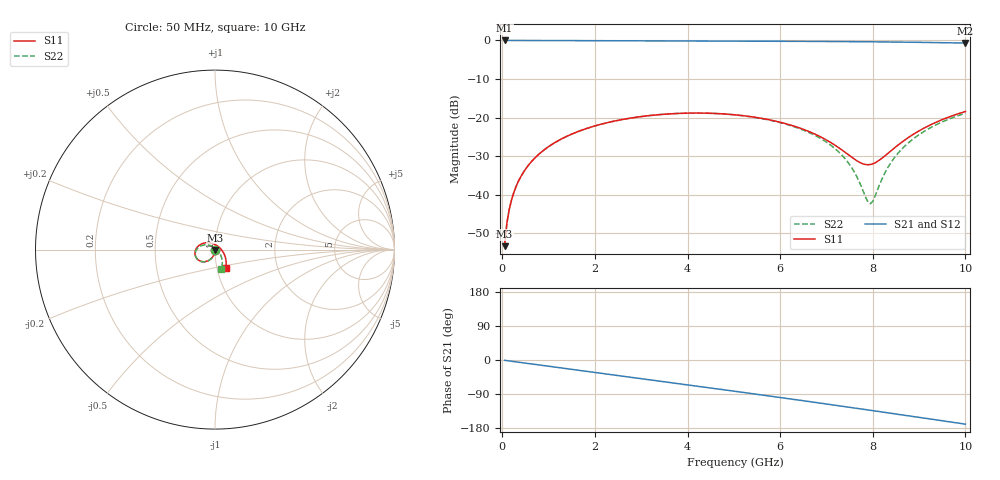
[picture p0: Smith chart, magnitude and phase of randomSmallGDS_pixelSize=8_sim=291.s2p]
! freq	dB(S11)	phase(S11)	dB(S12)	phase(S12)
!  dB(S21)	phase(S21)	dB(S22)	phase(S22)
!S-par simulation data
#  GHz  S  DB  R 50
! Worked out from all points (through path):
!   200 points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, 50 MHz to 10 GHz, reference 50 ohm
!   highest |S21| = 0.00 dB at 50 MHz (marker M1); lowest = -0.7 dB at 10 GHz (marker M2)
!   group delay of S21, straight-line fit = 46.8 ps
!   lowest |S11| = -53.3 dB at 50 MHz (marker M3), VSWR 1.00, Z = 50 - j0.216 ohm
!   |S11| at or under -10 dB: start of sweep to end of sweep
!   |S22| runs from -53.2 to -18.8 dB; largest |S21 - S12| = 0
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0.05  -53.30 -90.4  -0.00 -0.8  -0.00 -0.8  -53.17 -90.9
0.1  -47.28 -91.6  -0.00 -1.7  -0.00 -1.7  -47.22 -92.2
0.2  -41.27 -93.6  -0.01 -3.3  -0.01 -3.3  -41.26 -93.8
0.35  -36.44 -96.4  -0.01 -5.8  -0.01 -5.8  -36.43 -96.3
0.5  -33.37 -99.0  -0.01 -8.3  -0.01 -8.3  -33.37 -98.8
1  -27.50 -107.6  -0.03 -16.5  -0.03 -16.5  -27.51 -107.2
1.75  -23.09 -120.4  -0.05 -28.8  -0.05 -28.8  -23.10 -119.6
2.5  -20.69 -133.1  -0.08 -41.0  -0.08 -41.0  -20.70 -132.0
3.4  -19.20 -148.5  -0.12 -55.7  -0.12 -55.7  -19.21 -146.7
5.05  -19.29 -178.4  -0.18 -83.0  -0.18 -83.0  -19.32 -174.6
5.95  -21.04 162.8  -0.21 -98.1  -0.21 -98.1  -21.13 169.2
6.7  -23.99 142.8  -0.24 -110.9  -0.24 -110.9  -24.29 154.2
7.1  -26.50 127.4  -0.27 -117.8  -0.27 -117.8  -27.21 144.4
7.4  -28.95 109.9  -0.29 -123.1  -0.29 -123.1  -30.61 134.3
7.6  -30.71 92.4  -0.31 -126.6  -0.31 -126.6  -34.06 123.1
7.75  -31.78 74.7  -0.32 -129.2  -0.32 -129.2  -37.77 106.9
7.9  -32.20 53.7  -0.34 -131.8  -0.34 -131.8  -41.90 67.7
7.95  -32.13 46.5  -0.35 -132.7  -0.35 -132.7  -42.29 47.1
8.35  -29.02 0.5  -0.39 -139.8  -0.39 -139.8  -32.43 -28.6
8.65  -26.16 -18.9  -0.43 -145.1  -0.43 -145.1  -27.86 -41.8
9  -23.42 -33.7  -0.49 -151.4  -0.49 -151.4  -24.40 -51.6
10  -18.41 -60.7  -0.67 -169.3  -0.67 -169.3  -18.85 -72.5
